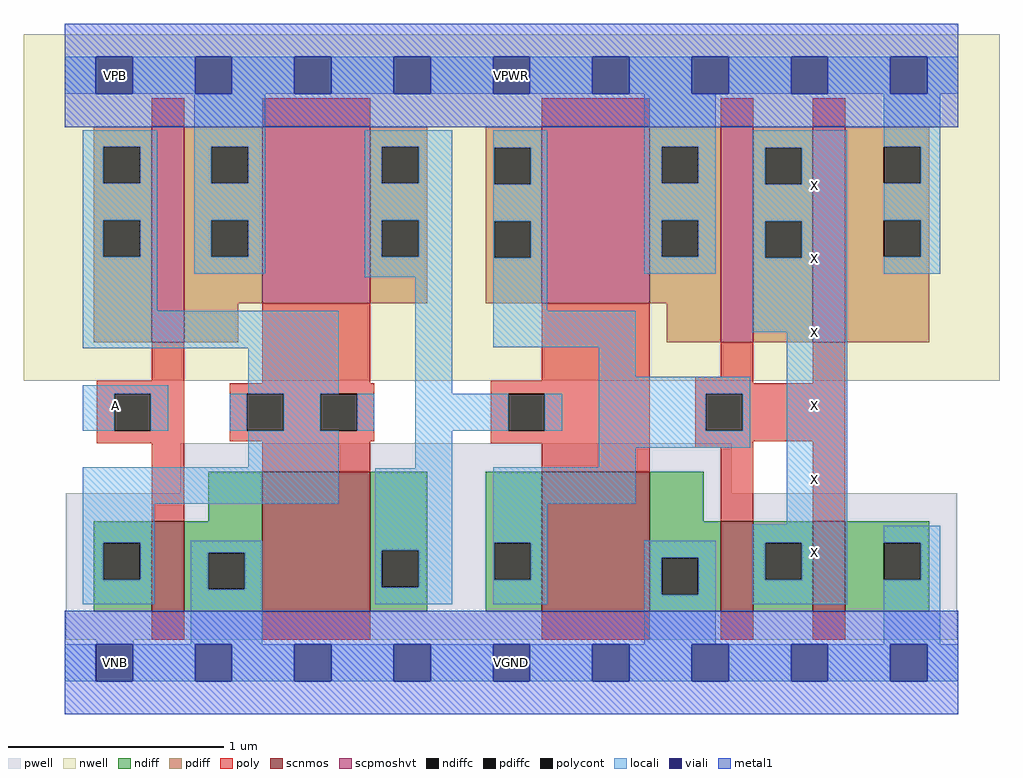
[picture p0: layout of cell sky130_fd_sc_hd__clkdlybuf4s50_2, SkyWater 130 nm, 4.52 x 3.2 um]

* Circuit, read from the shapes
.subckt sky130_fd_sc_hd__clkdlybuf4s50_2 A VGND VNB VPB VPWR X
XM1 VGND A n1 VNB sky130_fd_pr__nfet_01v8 w=0.42 l=0.15
XM2 n2 n1 VGND VNB sky130_fd_pr__nfet_01v8 w=0.65 l=0.5
XM3 VGND n2 n3 VNB sky130_fd_pr__nfet_01v8 w=0.65 l=0.5
XM4 X n3 VGND VNB sky130_fd_pr__nfet_01v8 w=0.42 l=0.15 m=2
XM5 VPWR A n1 VPB sky130_fd_pr__pfet_01v8_hvt w=1 l=0.15
XM6 n2 n1 VPWR VPB sky130_fd_pr__pfet_01v8_hvt w=0.82 l=0.5
XM7 VPWR n2 n3 VPB sky130_fd_pr__pfet_01v8_hvt w=0.82 l=0.5
XM8 X n3 VPWR VPB sky130_fd_pr__pfet_01v8_hvt w=1 l=0.15 m=2
.ends

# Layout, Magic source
magic
tech sky130B
magscale 1 2
<< nwell >>
rect -38 261 866 582
<< pwell >>
rect 107 157 618 203
rect 1 21 827 157
rect 30 -17 64 21
<< scnmos >>
rect 81 47 111 131
rect 183 47 283 177
rect 442 47 542 177
rect 608 47 638 131
rect 693 47 723 131
<< scpmoshvt >>
rect 81 297 111 497
rect 183 333 283 497
rect 442 333 542 497
rect 608 297 638 497
rect 693 297 723 497
<< ndiff >>
rect 133 131 183 177
rect 27 111 81 131
rect 27 77 36 111
rect 70 77 81 111
rect 27 47 81 77
rect 111 102 183 131
rect 111 68 133 102
rect 167 68 183 102
rect 111 47 183 68
rect 283 104 336 177
rect 283 70 294 104
rect 328 70 336 104
rect 283 47 336 70
rect 390 111 442 177
rect 390 77 398 111
rect 432 77 442 111
rect 390 47 442 77
rect 542 131 592 177
rect 542 97 608 131
rect 542 63 553 97
rect 587 63 608 97
rect 542 47 608 63
rect 638 111 693 131
rect 638 77 649 111
rect 683 77 693 111
rect 638 47 693 77
rect 723 111 801 131
rect 723 77 759 111
rect 793 77 801 111
rect 723 47 801 77
<< pdiff >>
rect 27 478 81 497
rect 27 444 36 478
rect 70 444 81 478
rect 27 410 81 444
rect 27 376 36 410
rect 70 376 81 410
rect 27 297 81 376
rect 111 478 183 497
rect 111 444 136 478
rect 170 444 183 478
rect 111 410 183 444
rect 111 376 136 410
rect 170 376 183 410
rect 111 333 183 376
rect 283 478 336 497
rect 283 444 294 478
rect 328 444 336 478
rect 283 410 336 444
rect 283 376 294 410
rect 328 376 336 410
rect 283 333 336 376
rect 390 477 442 497
rect 390 443 398 477
rect 432 443 442 477
rect 390 409 442 443
rect 390 375 398 409
rect 432 375 442 409
rect 390 333 442 375
rect 542 478 608 497
rect 542 444 553 478
rect 587 444 608 478
rect 542 410 608 444
rect 542 376 553 410
rect 587 376 608 410
rect 542 333 608 376
rect 111 297 161 333
rect 558 297 608 333
rect 638 477 693 497
rect 638 443 649 477
rect 683 443 693 477
rect 638 409 693 443
rect 638 375 649 409
rect 683 375 693 409
rect 638 297 693 375
rect 723 478 801 497
rect 723 444 759 478
rect 793 444 801 478
rect 723 410 801 444
rect 723 376 759 410
rect 793 376 801 410
rect 723 297 801 376
<< ndiffc >>
rect 36 77 70 111
rect 133 68 167 102
rect 294 70 328 104
rect 398 77 432 111
rect 553 63 587 97
rect 649 77 683 111
rect 759 77 793 111
<< pdiffc >>
rect 36 444 70 478
rect 36 376 70 410
rect 136 444 170 478
rect 136 376 170 410
rect 294 444 328 478
rect 294 376 328 410
rect 398 443 432 477
rect 398 375 432 409
rect 553 444 587 478
rect 553 376 587 410
rect 649 443 683 477
rect 649 375 683 409
rect 759 444 793 478
rect 759 376 793 410
<< poly >>
rect 81 497 111 523
rect 183 497 283 523
rect 442 497 542 523
rect 608 497 638 523
rect 693 497 723 523
rect 81 261 111 297
rect 30 249 111 261
rect 183 259 283 333
rect 442 261 542 333
rect 608 265 638 297
rect 30 215 46 249
rect 80 215 111 249
rect 30 203 111 215
rect 153 249 287 259
rect 153 215 169 249
rect 203 215 237 249
rect 271 215 287 249
rect 153 205 287 215
rect 395 249 542 261
rect 395 215 411 249
rect 445 215 542 249
rect 81 131 111 203
rect 183 177 283 205
rect 395 203 542 215
rect 442 177 542 203
rect 584 259 638 265
rect 693 259 723 297
rect 584 249 723 259
rect 584 215 594 249
rect 628 215 723 249
rect 584 205 723 215
rect 584 199 638 205
rect 608 131 638 199
rect 693 131 723 205
rect 81 21 111 47
rect 183 21 283 47
rect 442 21 542 47
rect 608 21 638 47
rect 693 21 723 47
<< polycont >>
rect 46 215 80 249
rect 169 215 203 249
rect 237 215 271 249
rect 411 215 445 249
rect 594 215 628 249
<< locali >>
rect 0 527 29 561
rect 63 527 121 561
rect 155 527 213 561
rect 247 527 305 561
rect 339 527 397 561
rect 431 527 489 561
rect 523 527 581 561
rect 615 527 673 561
rect 707 527 765 561
rect 799 527 828 561
rect 17 478 86 493
rect 17 444 36 478
rect 70 444 86 478
rect 17 410 86 444
rect 17 376 36 410
rect 70 376 86 410
rect 17 326 86 376
rect 120 478 186 527
rect 120 444 136 478
rect 170 444 186 478
rect 120 410 186 444
rect 120 376 136 410
rect 170 376 186 410
rect 120 360 186 376
rect 278 478 359 493
rect 278 444 294 478
rect 328 444 359 478
rect 278 410 359 444
rect 278 376 294 410
rect 328 376 359 410
rect 278 357 359 376
rect 17 291 254 326
rect 17 249 96 257
rect 170 249 254 291
rect 325 249 359 357
rect 397 477 447 493
rect 397 443 398 477
rect 432 443 447 477
rect 397 409 447 443
rect 397 375 398 409
rect 432 375 447 409
rect 397 326 447 375
rect 537 478 603 527
rect 537 444 553 478
rect 587 444 603 478
rect 537 410 603 444
rect 537 376 553 410
rect 587 376 603 410
rect 537 360 603 376
rect 637 477 725 493
rect 637 443 649 477
rect 683 443 725 477
rect 637 409 725 443
rect 637 375 649 409
rect 683 375 725 409
rect 397 292 529 326
rect 637 306 725 375
rect 759 478 811 527
rect 793 444 811 478
rect 759 410 811 444
rect 793 376 811 410
rect 759 360 811 376
rect 495 265 529 292
rect 495 249 635 265
rect 17 215 46 249
rect 80 215 96 249
rect 153 215 169 249
rect 203 215 237 249
rect 271 215 287 249
rect 325 215 411 249
rect 445 215 461 249
rect 495 215 594 249
rect 628 215 635 249
rect 170 181 254 215
rect 17 147 254 181
rect 325 180 359 215
rect 495 199 635 215
rect 495 181 529 199
rect 17 111 83 147
rect 17 77 36 111
rect 70 77 83 111
rect 17 54 83 77
rect 117 102 183 113
rect 117 68 133 102
rect 167 68 183 102
rect 117 17 183 68
rect 288 104 359 180
rect 288 70 294 104
rect 328 70 359 104
rect 288 54 359 70
rect 397 147 529 181
rect 397 111 447 147
rect 669 128 725 306
rect 397 77 398 111
rect 432 77 447 111
rect 397 54 447 77
rect 537 97 603 113
rect 537 63 553 97
rect 587 63 603 97
rect 537 17 603 63
rect 637 111 725 128
rect 637 77 649 111
rect 683 77 725 111
rect 637 54 725 77
rect 759 111 811 127
rect 793 77 811 111
rect 759 17 811 77
rect 0 -17 29 17
rect 63 -17 121 17
rect 155 -17 213 17
rect 247 -17 305 17
rect 339 -17 397 17
rect 431 -17 489 17
rect 523 -17 581 17
rect 615 -17 673 17
rect 707 -17 765 17
rect 799 -17 828 17
<< viali >>
rect 29 527 63 561
rect 121 527 155 561
rect 213 527 247 561
rect 305 527 339 561
rect 397 527 431 561
rect 489 527 523 561
rect 581 527 615 561
rect 673 527 707 561
rect 765 527 799 561
rect 29 -17 63 17
rect 121 -17 155 17
rect 213 -17 247 17
rect 305 -17 339 17
rect 397 -17 431 17
rect 489 -17 523 17
rect 581 -17 615 17
rect 673 -17 707 17
rect 765 -17 799 17
<< metal1 >>
rect 0 561 828 592
rect 0 527 29 561
rect 63 527 121 561
rect 155 527 213 561
rect 247 527 305 561
rect 339 527 397 561
rect 431 527 489 561
rect 523 527 581 561
rect 615 527 673 561
rect 707 527 765 561
rect 799 527 828 561
rect 0 496 828 527
rect 0 17 828 48
rect 0 -17 29 17
rect 63 -17 121 17
rect 155 -17 213 17
rect 247 -17 305 17
rect 339 -17 397 17
rect 431 -17 489 17
rect 523 -17 581 17
rect 615 -17 673 17
rect 707 -17 765 17
rect 799 -17 828 17
rect 0 -48 828 -17
<< labels >>
flabel locali s 30 221 64 255 0 FreeSans 400 0 0 0 A
port 1 nsew signal input
flabel locali s 678 425 712 459 0 FreeSans 400 0 0 0 X
port 6 nsew signal output
flabel locali s 678 357 712 391 0 FreeSans 400 0 0 0 X
port 6 nsew signal output
flabel locali s 678 289 712 323 0 FreeSans 400 0 0 0 X
port 6 nsew signal output
flabel locali s 678 221 712 255 0 FreeSans 400 0 0 0 X
port 6 nsew signal output
flabel locali s 678 153 712 187 0 FreeSans 400 0 0 0 X
port 6 nsew signal output
flabel locali s 678 85 712 119 0 FreeSans 400 0 0 0 X
port 6 nsew signal output
flabel pwell s 30 -17 64 17 0 FreeSans 200 0 0 0 VNB
port 3 nsew ground bidirectional
flabel nwell s 30 527 64 561 0 FreeSans 200 0 0 0 VPB
port 4 nsew power bidirectional
flabel metal1 s 30 -17 64 17 0 FreeSans 200 0 0 0 VGND
port 2 nsew ground bidirectional abutment
flabel metal1 s 30 527 64 561 0 FreeSans 200 0 0 0 VPWR
port 5 nsew power bidirectional abutment
rlabel comment s 0 0 0 0 4 clkdlybuf4s50_2
rlabel metal1 s 0 -48 828 48 1 VGND
port 2 nsew ground bidirectional abutment
rlabel metal1 s 0 496 828 592 1 VPWR
port 5 nsew power bidirectional abutment
<< properties >>
string FIXED_BBOX 0 0 828 544
string GDS_END 3281248
string GDS_FILE $PDKPATH/libs.ref/sky130_fd_sc_hd/gds/sky130_fd_sc_hd.gds
string GDS_START 3274648
string LEFclass CORE
string LEFsite unithd
string LEFsymmetry X Y R90
string path 0.000 0.000 20.700 0.000 
<< end >>
